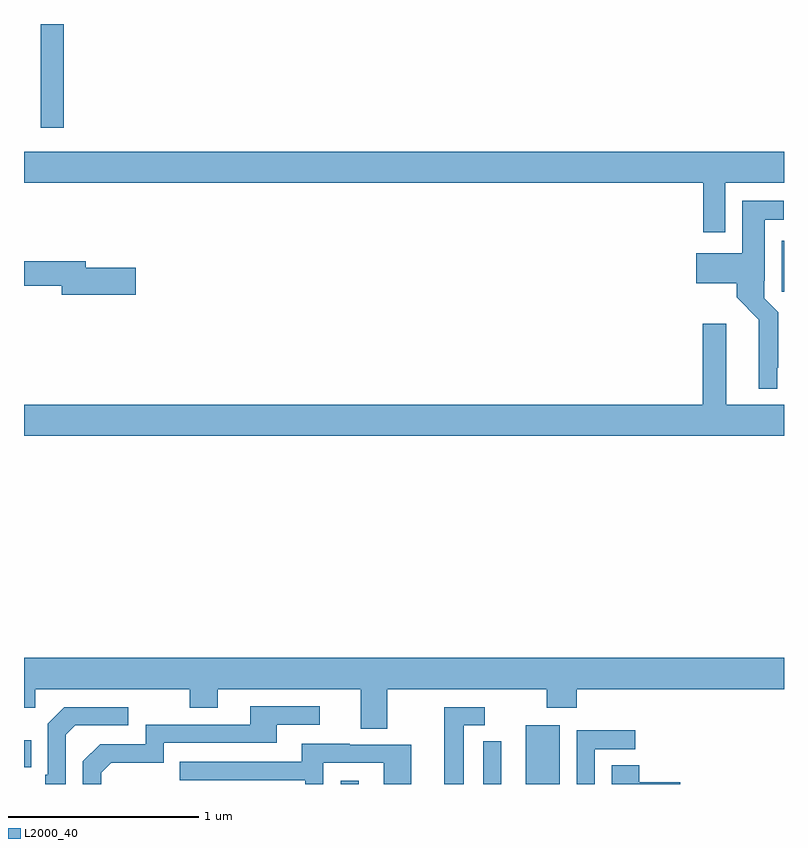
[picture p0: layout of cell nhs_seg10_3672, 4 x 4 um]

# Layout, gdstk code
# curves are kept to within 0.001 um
import gdstk
lib = gdstk.Library(unit=1e-6, precision=1e-09)
def R(c, l, rs):  # rectangles x0, y0, x1, y1
    for r in rs: c.add(gdstk.rectangle(r[:2], r[2:], *l))
def P(c, l, *ps):  # polygons
    for p in ps: c.add(gdstk.Polygon(p, *l))
L2000_40 = (2000, 40)

nhs_seg10_3672 = lib.new_cell('nhs_seg10_3672')
R(nhs_seg10_3672, L2000_40, [(312.666,1282.5,312.763,1282.516), (313.64,1282.5,313.819,1282.81), (311,1282.589,311.039,1282.729), (314.987,1285.092,315,1285.359), (311.087,1285.953,311.209,1286.5)])
P(nhs_seg10_3672, L2000_40, [(314.691,1285.664),(315,1285.664),(315,1285.828),(311,1285.828),(311,1285.664),(314.575,1285.664),(314.575,1285.404),(314.691,1285.404)],
  [(314.965,1284.691),(314.969,1284.691),(314.969,1284.982),(314.895,1285.056),(314.895,1285.15),(314.899,1285.15),(314.899,1285.469),(314.998,1285.469),(314.998,1285.57),(314.78,1285.57),(314.78,1285.294),(314.538,1285.294),(314.538,1285.136),(314.75,1285.136),(314.75,1285.062),(314.868,1284.944),(314.867,1284.581),(314.965,1284.581)],
  [(311.587,1285.218),(311.326,1285.218),(311.326,1285.252),(311,1285.252),(311,1285.123),(311.198,1285.123),(311.198,1285.076),(311.587,1285.076)],
  [(315,1284.496),(314.695,1284.496),(314.695,1284.922),(314.573,1284.922),(314.573,1284.496),(311,1284.496),(311,1284.332),(315,1284.332)],
  [(312.913,1283),(313.75,1283),(313.75,1282.901),(313.91,1282.901),(313.91,1283),(315,1283),(315,1283.164),(311,1283.164),(311,1282.901),(311.058,1282.901),(311.058,1283),(311.872,1283),(311.872,1282.901),(312.019,1282.901),(312.019,1283),(312.773,1283),(312.773,1282.792),(312.913,1282.792)],
  [(311.406,1282.56),(311.459,1282.613),(311.736,1282.613),(311.736,1282.716),(312.331,1282.716),(312.331,1282.812),(312.556,1282.812),(312.556,1282.908),(312.191,1282.908),(312.191,1282.812),(311.64,1282.812),(311.64,1282.71),(311.4,1282.71),(311.31,1282.62),(311.31,1282.5),(311.406,1282.5)],
  [(313.315,1282.809),(313.426,1282.809),(313.426,1282.905),(313.211,1282.905),(313.211,1282.5),(313.315,1282.5)],
  [(311.22,1282.758),(311.271,1282.809),(311.548,1282.809),(311.548,1282.905),(311.211,1282.905),(311.124,1282.818),(311.124,1282.549),(311.112,1282.549),(311.112,1282.5),(311.22,1282.5)],
  [(314.004,1282.683),(314.218,1282.683),(314.218,1282.782),(313.908,1282.782),(313.908,1282.5),(314.004,1282.5)],
  [(313.511,1282.57),(313.512,1282.57),(313.512,1282.724),(313.416,1282.724),(313.416,1282.5),(313.511,1282.5)],
  [(312.576,1282.611),(312.894,1282.611),(312.894,1282.5),(313.039,1282.5),(313.039,1282.707),(312.715,1282.707),(312.715,1282.711),(312.461,1282.711),(312.461,1282.617),(311.821,1282.617),(311.821,1282.521),(312.48,1282.521),(312.48,1282.5),(312.576,1282.5)],
  [(314.455,1282.508),(314.237,1282.508),(314.237,1282.598),(314.093,1282.598),(314.093,1282.5),(314.455,1282.5)])

lib.write_gds('nhs_seg10_3672.gds')
